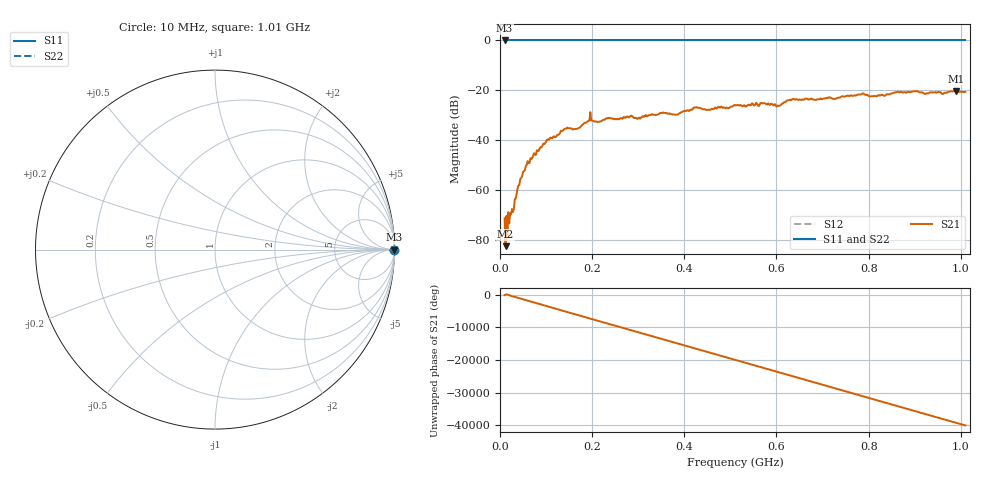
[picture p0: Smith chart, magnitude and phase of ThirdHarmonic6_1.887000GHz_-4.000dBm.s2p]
! 8/16/2025 10:47:16 PM
! C:\ANRITSUVNA\TEMP\TEMP.S2P
! CHANNEL.1
! TR.MEASUREMENT
! RAW.DATA
! RF.CORRECTION.OFF
! AVERAGING.OFF
! IF.BANDWIDTH: 5KHZ
! SWEEPTYPE:  FREQ.SWEEP(Linear)
! Reference Plane Port Info
! PORT:  PORT1  PORT2
! DISTANCE:  0  m  0  m
! TIME:  0  s  0  s
! PHASE.OFFSET:  0  deg.  0  deg.
! LOSS:  0  dB  0  dB
! REF.LOSS:  0  dB  0  dB
! REF.FREQ:  0  Hz  0  Hz
! Power Info
! POWER:  -20  dBm  -20  dBm
! EFF.POWER:  -20  dBm  -20  dBm
! SOURCE.ATTEN:  0  dB  0  dB
! TEST.ATTEN:  0  dB  0  dB
# GHZ S RI R 50.0
! FREQ.GHZ  S11RE  S11IM  S21RE  S21IM  S12RE  S12IM  S22RE  S22IM
!; PortSelection: Port_12
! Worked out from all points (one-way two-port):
!   501 points, 10 MHz to 1.01 GHz, reference 50 ohm
!   highest |S21| = -20.29 dB at 990 MHz (marker M1); lowest = -82.5 dB at 12 MHz (marker M2)
!   lowest |S11| = 0.0 dB at 10 MHz (marker M3)
!   |S11| at or under -10 dB: nowhere
!   |S22| runs from 0.0 to 0.0 dB; largest |S21 - S12| = 1.1
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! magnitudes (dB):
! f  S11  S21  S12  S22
! 10 MHz  0.0  -71.3  0.0  0.0
! 12 MHz  0.0  -82.5  0.0  0.0
! 16 MHz  0.0  -79.0  0.0  0.0
! 48 MHz  0.0  -54.4  0.0  0.0
! 70 MHz  0.0  -47.1  0.0  0.0
! 106 MHz  0.0  -39.8  0.0  0.0
! 142 MHz  0.0  -35.4  0.0  0.0
! 178 MHz  0.0  -33.9  0.0  0.0
! 196 MHz  0.0  -28.7  0.0  0.0
! 214 MHz  0.0  -32.6  0.0  0.0
! 344 MHz  0.0  -29.7  0.0  0.0
! 382 MHz  0.0  -29.7  0.0  0.0
! 424 MHz  0.0  -26.9  0.0  0.0
! 452 MHz  0.0  -27.7  0.0  0.0
! 510 MHz  0.0  -25.9  0.0  0.0
! 570 MHz  0.0  -25.2  0.0  0.0
! 604 MHz  0.0  -26.1  0.0  0.0
! 632 MHz  0.0  -24.0  0.0  0.0
! 678 MHz  0.0  -23.6  0.0  0.0
! 844 MHz  0.0  -21.6  0.0  0.0
! 990 MHz  0.0  -20.3  0.0  0.0
! 1.01 GHz  0.0  -20.6  0.0  0.0
